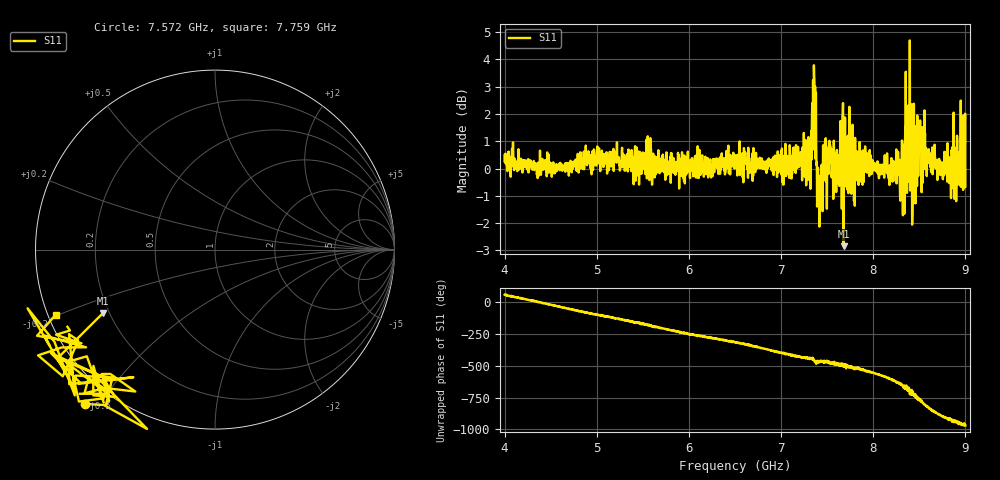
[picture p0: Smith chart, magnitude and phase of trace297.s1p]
! Created with skrf 1.8.0 (http://scikit-rf.org).
# Hz S RI R 50.0
!freq ReS11 ImS11
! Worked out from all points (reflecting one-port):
!   1601 points, 4 GHz to 9 GHz, reference 50 ohm
!   lowest |S11| = -2.8 dB at 7.678 GHz (marker M1), VSWR 6.15, Z = 8.68 - j12.8 ohm
!   phase of S11 starts at 53 deg and turns -1021 deg over the sweep
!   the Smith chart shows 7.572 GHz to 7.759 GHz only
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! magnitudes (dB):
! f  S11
! 4 GHz  0.3
! 4.625 GHz  -0.1
! 5.25 GHz  -0.1
! 5.875 GHz  0.1
! 6.5 GHz  0.0
! 7.125 GHz  0.3
! 7.297 GHz  1.2
! 7.353 GHz  1.3
! 7.381 GHz  0.9
! 7.409 GHz  -0.3
! 7.519 GHz  0.9
! 7.606 GHz  0.7
! 7.65 GHz  1.1
! 7.678 GHz  -2.8
! 7.75 GHz  0.0
! 8.259 GHz  0.3
! 8.316 GHz  0.6
! 8.334 GHz  0.3
! 8.347 GHz  1.5
! 8.375 GHz  0.6
! 8.394 GHz  0.5
! 8.447 GHz  1.6
! 8.497 GHz  1.1
! 8.819 GHz  -0.4
! 8.872 GHz  2.0
! 8.906 GHz  0.2
! 8.972 GHz  0.5
! 9 GHz  -0.7
